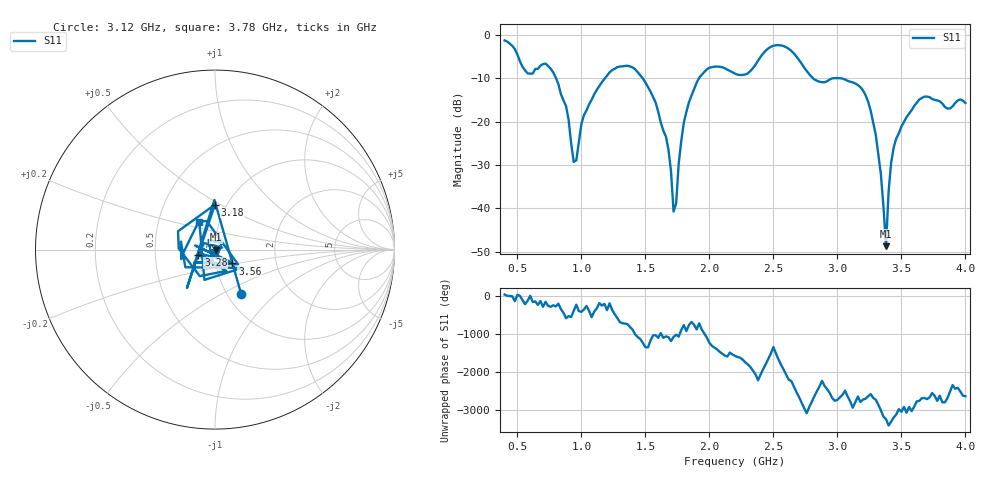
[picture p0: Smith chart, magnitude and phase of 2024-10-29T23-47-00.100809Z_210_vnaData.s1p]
!Created with skrf (http://scikit-rf.org).
# Hz S RI R 50.0
!freq ReS11 ImS11
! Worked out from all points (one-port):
!   181 points, 400 MHz to 4 GHz, reference 50 ohm
!   lowest |S11| = -48.7 dB at 3.38 GHz (marker M1), VSWR 1.01, Z = 50.4 + j0.00245 ohm
!   |S11| at or under -10 dB: 802.6 MHz to 1.183 GHz (380.9 MHz wide, 38.4 % of centre); 1.48 GHz to 1.917 GHz (437.6 MHz wide, 25.8 % of centre); 3.033 GHz to end of sweep (the widest 3 of 4)
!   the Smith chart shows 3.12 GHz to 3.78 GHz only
!   S11 on the Smith chart (normalised r, x): 3.12 GHz: 1.16, -0.62; 3.18 GHz: 0.88, +0.47; 3.28 GHz: 0.83, -0.05; 3.56 GHz: 1.20, -0.19; 3.78 GHz: 0.80, +0.25
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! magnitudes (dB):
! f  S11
! 400 MHz  -1.2
! 580 MHz  -8.8
! 740 MHz  -7.1
! 860 MHz  -15.1
! 940 MHz  -29.3
! 1.02 GHz  -18.4
! 1.3 GHz  -7.3
! 1.58 GHz  -15.6
! 1.68 GHz  -26.4
! 1.72 GHz  -40.7
! 1.74 GHz  -38.9
! 1.76 GHz  -29.7
! 1.8 GHz  -20.2
! 1.92 GHz  -9.9
! 2.2 GHz  -8.9
! 2.66 GHz  -4.2
! 2.84 GHz  -10.5
! 3.1 GHz  -10.8
! 3.12 GHz  -10.9
! 3.18 GHz  -12.0
! 3.28 GHz  -20.2
! 3.34 GHz  -32.2
! 3.38 GHz  -48.7
! 3.4 GHz  -36.1
! 3.44 GHz  -25.9
! 3.56 GHz  -18.1
! 3.78 GHz  -15.1
! 4 GHz  -15.7
